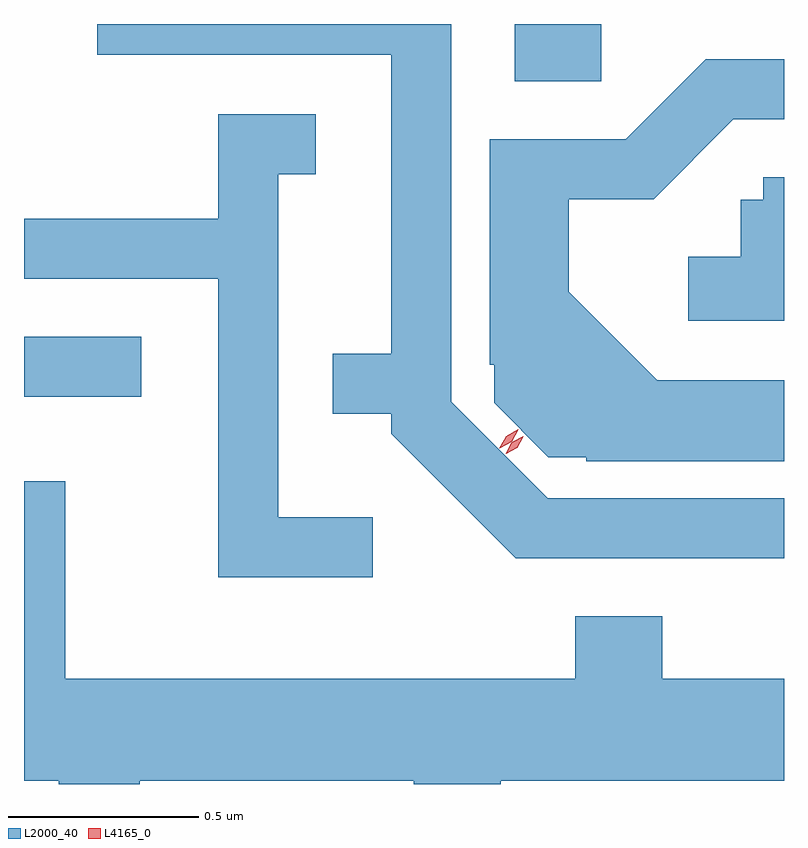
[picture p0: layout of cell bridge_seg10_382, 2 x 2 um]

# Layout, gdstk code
import gdstk
lib = gdstk.Library(unit=1e-6, precision=1e-09)
def R(c, l, rs):  # rectangles x0, y0, x1, y1
    for r in rs: c.add(gdstk.rectangle(r[:2], r[2:], *l))
def P(c, l, *ps):  # polygons
    for p in ps: c.add(gdstk.Polygon(p, *l))
L2000_40 = (2000, 40)
L4165_0 = (4165, 0)

bridge_seg10_382 = lib.new_cell('bridge_seg10_382')
R(bridge_seg10_382, L2000_40, [(1062.16,2163.766,1062.468,2163.924), (1063.451,2164.596,1063.679,2164.747)])
P(bridge_seg10_382, L2000_40, [(1064.16,2163.499),(1063.538,2163.499),(1063.284,2163.753),(1063.284,2164.747),(1062.353,2164.747),(1062.353,2164.666),(1063.126,2164.666),(1063.126,2163.879),(1062.973,2163.879),(1062.973,2163.721),(1063.126,2163.721),(1063.126,2163.669),(1063.454,2163.341),(1064.16,2163.341)],
  [(1064.16,2163.809),(1063.827,2163.809),(1063.594,2164.042),(1063.594,2164.286),(1063.817,2164.286),(1064.027,2164.496),(1064.16,2164.496),(1064.16,2164.654),(1063.954,2164.654),(1063.744,2164.444),(1063.386,2164.444),(1063.386,2163.85),(1063.397,2163.85),(1063.397,2163.75),(1063.54,2163.607),(1063.64,2163.607),(1063.64,2163.596),(1064.16,2163.596)],
  [(1063.078,2163.449),(1062.829,2163.449),(1062.829,2164.351),(1062.928,2164.351),(1062.928,2164.509),(1062.671,2164.509),(1062.671,2164.234),(1062.16,2164.234),(1062.16,2164.076),(1062.671,2164.076),(1062.671,2163.291),(1063.078,2163.291)],
  [(1064.16,2164.344),(1064.106,2164.344),(1064.106,2164.284),(1064.046,2164.284),(1064.046,2164.134),(1063.908,2164.134),(1063.908,2163.966),(1064.16,2163.966)],
  [(1062.464,2162.756),(1063.186,2162.756),(1063.186,2162.747),(1063.414,2162.747),(1063.414,2162.756),(1064.16,2162.756),(1064.16,2163.024),(1063.839,2163.024),(1063.839,2163.189),(1063.611,2163.189),(1063.611,2163.024),(1062.269,2163.024),(1062.269,2163.544),(1062.16,2163.544),(1062.16,2162.756),(1062.251,2162.756),(1062.251,2162.747),(1062.464,2162.747)])
P(bridge_seg10_382, L4165_0, [(1063.411,2163.63),(1063.411,2163.63),(1063.429,2163.662),(1063.46,2163.68),(1063.461,2163.68),(1063.461,2163.679),(1063.443,2163.648),(1063.412,2163.63)],
  [(1063.428,2163.616),(1063.428,2163.616),(1063.444,2163.646),(1063.474,2163.662),(1063.474,2163.662),(1063.474,2163.661),(1063.458,2163.632),(1063.429,2163.616)])

lib.write_gds('bridge_seg10_382.gds')
